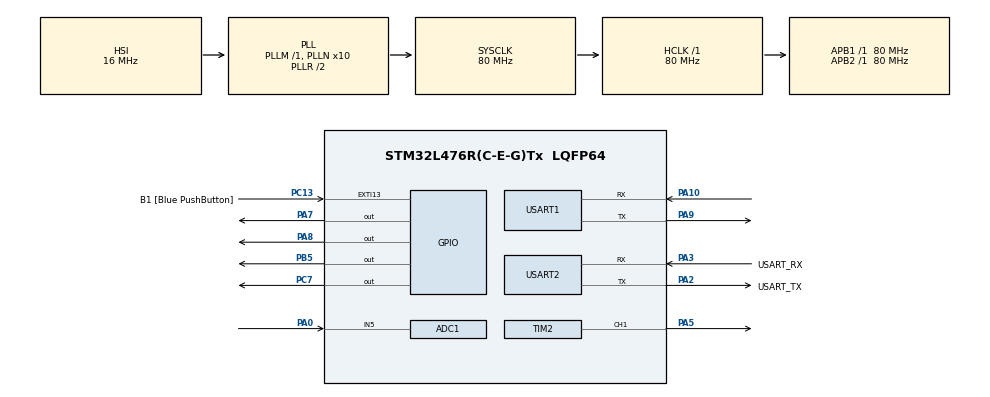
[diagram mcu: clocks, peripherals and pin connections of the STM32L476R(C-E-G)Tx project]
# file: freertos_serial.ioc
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ADC1.Channel-0\#ChannelRegularConversion=ADC_CHANNEL_5
ADC1.NbrOfConversionFlag=1
ADC1.OffsetNumber-0\#ChannelRegularConversion=ADC_OFFSET_NONE
ADC1.Rank-0\#ChannelRegularConversion=1
ADC1.SamplingTime-0\#ChannelRegularConversion=ADC_SAMPLETIME_2CYCLES_5
ADC1.master=1
FREERTOS.Tasks01=defaultTask,0,128,StartDefaultTask,Default,NULL,Dynamic,NULL,NULL
Mcu.Family=STM32L4
Mcu.Name=STM32L476R(C-E-G)Tx
Mcu.Package=LQFP64
NVIC.PriorityGroup=NVIC_PRIORITYGROUP_4
NVIC.TIM1_UP_TIM16_IRQn=true\:15\:0\:false\:false\:true\:false\:false\:true\:true
NVIC.TIM3_IRQn=true\:5\:0\:false\:false\:true\:true\:true\:true\:true
NVIC.TimeBase=TIM1_UP_TIM16_IRQn
NVIC.TimeBaseIP=TIM1
PA0.Signal=ADCx_IN5
PA10.Mode=Asynchronous
PA10.Signal=USART1_RX
PA13\ (JTMS-SWDIO).GPIO_Label=TMS
PA13\ (JTMS-SWDIO).Mode=Serial_Wire
PA13\ (JTMS-SWDIO).Signal=SYS_JTMS-SWDIO
PA14\ (JTCK-SWCLK).GPIO_Label=TCK
PA14\ (JTCK-SWCLK).Mode=Serial_Wire
PA14\ (JTCK-SWCLK).Signal=SYS_JTCK-SWCLK
PA2.GPIO_Label=USART_TX
PA2.GPIO_Mode=GPIO_MODE_AF_PP
PA2.GPIO_PuPd=GPIO_NOPULL
PA2.GPIO_Speed=GPIO_SPEED_FREQ_VERY_HIGH
PA2.Mode=Asynchronous
PA2.Signal=USART2_TX
PA3.GPIO_Label=USART_RX
PA3.GPIO_Mode=GPIO_MODE_AF_PP
PA3.GPIO_PuPd=GPIO_NOPULL
PA3.GPIO_Speed=GPIO_SPEED_FREQ_VERY_HIGH
PA3.Mode=Asynchronous
PA3.Signal=USART2_RX
PA5.Signal=S_TIM2_CH1
PA7.Signal=GPIO_Output
PA8.Signal=GPIO_Output
PA9.Mode=Asynchronous
PA9.Signal=USART1_TX
PB3\ (JTDO-TRACESWO).GPIO_Label=SWO
PB3\ (JTDO-TRACESWO).Signal=SYS_JTDO-SWO
PB5.Signal=GPIO_Output
PC13.GPIO_Label=B1 [Blue PushButton]
PC13.GPIO_ModeDefaultEXTI=GPIO_MODE_IT_FALLING
PC13.GPIO_PuPd=GPIO_NOPULL
PC13.Signal=GPXTI13
PC14-OSC32_IN\ (PC14).Mode=LSE-External-Oscillator
PC14-OSC32_IN\ (PC14).Signal=RCC_OSC32_IN
PC15-OSC32_OUT\ (PC15).Mode=LSE-External-Oscillator
PC15-OSC32_OUT\ (PC15).Signal=RCC_OSC32_OUT
PC7.Signal=GPIO_Output
PH0-OSC_IN\ (PH0).Signal=RCC_OSC_IN
PH1-OSC_OUT\ (PH1).Signal=RCC_OSC_OUT
ProjectManager.HeapSize=0x200
ProjectManager.StackSize=0x400
ProjectManager.TargetToolchain=STM32CubeIDE
RCC.ADCFreq_Value=64000000
RCC.AHBFreq_Value=80000000
RCC.APB1Freq_Value=80000000
RCC.APB1TimFreq_Value=80000000
RCC.APB2Freq_Value=80000000
RCC.APB2TimFreq_Value=80000000
RCC.CortexFreq_Value=80000000
RCC.HCLKFreq_Value=80000000
RCC.HSE_VALUE=8000000
RCC.HSI_VALUE=16000000
RCC.MSI_VALUE=4000000
RCC.PLLN=10
RCC.PLLSourceVirtual=RCC_PLLSOURCE_HSI
RCC.PREFETCH_ENABLE=1
RCC.SYSCLKFreq_VALUE=80000000
RCC.SYSCLKSource=RCC_SYSCLKSOURCE_PLLCLK
RCC.USBFreq_Value=64000000
RCC.VCOOutputFreq_Value=160000000
SH.ADCx_IN5.0=ADC1_IN5,IN5-Single-Ended
SH.S_TIM2_CH1.0=TIM2_CH1,PWM Generation1 CH1
TIM2.Channel-PWM\ Generation1\ CH1=TIM_CHANNEL_1
TIM2.Period=2000-1
TIM2.Prescaler=127
TIM3.Period=10000-1
TIM3.Prescaler=400-1
USART1.VirtualMode-Asynchronous=VM_ASYNC
USART2.VirtualMode-Asynchronous=VM_ASYNC
VP_FREERTOS_VS_CMSIS_V1.Mode=CMSIS_V1
VP_SYS_VS_tim1.Mode=TIM1
VP_TIM2_VS_ClockSourceINT.Mode=Internal
VP_TIM3_VS_ClockSourceINT.Mode=Internal
board=NUCLEO-L476RG

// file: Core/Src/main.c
/* USER CODE BEGIN Header */
/**
  ******************************************************************************
  * @file           : main.c
  * @brief          : Main program body
  ******************************************************************************
  * @attention
  *
  * Copyright (c) 2023 STMicroelectronics.
  * All rights reserved.
  *
  * This software is licensed under terms that can be found in the LICENSE file
  * in the root directory of this software component.
  * If no LICENSE file comes with this software, it is provided AS-IS.
  *
  ******************************************************************************
  */
/* USER CODE END Header */
#include "main.h"
#include "cmsis_os.h"

ADC_HandleTypeDef hadc1;

TIM_HandleTypeDef htim2;
TIM_HandleTypeDef htim3;

UART_HandleTypeDef huart1;
UART_HandleTypeDef huart2;

osThreadId defaultTaskHandle;

void SystemClock_Config(void);
static void MX_GPIO_Init(void);
static void MX_USART2_UART_Init(void);
static void MX_ADC1_Init(void);
static void MX_TIM3_Init(void);
static void MX_TIM2_Init(void);
static void MX_USART1_UART_Init(void);
void StartDefaultTask(void const * argument);

/* USER CODE BEGIN 0 */
//
//void pwm_task(void * vParam)
//{
//	int pwm_value = 1000;
//	int step = 100;
//	while(1)
//		{
//			vTaskDelay(100);
//			if(pwm_value == 0) step = 100;
//			if(pwm_value == 2000) step = -100;
//			pwm_value += step;
//			user_pwm_setvalue(2000);
//		}
//}

//void sendString(char * str);
void cli(void * vParam);
void toggleTaskFcn(void * argument);

//int16_t readVoltage(void){
//  HAL_ADC_Start(&hadc1);
//  HAL_ADC_PollForConversion(&hadc1, HAL_MAX_DELAY);
//  return HAL_ADC_GetValue(&hadc1);
//}

//void sendChar(unsigned char c, int uart_number){
//	unsigned char pChar = c;
//	if(uart_number == 1){
//		HAL_UART_Transmit(&huart1, &pChar, 1, HAL_MAX_DELAY );
//	}
//	else if(uart_number == 2){
//		HAL_UART_Transmit(&huart2, &pChar, 1,HAL_MAX_DELAY );
//	}
//}
//
//char readChar(int uart_number) {
//	unsigned char caracter;
//
//	if(uart_number == 1){
//		while(HAL_UART_Receive(&huart1, &caracter, 4, HAL_MAX_DELAY) != HAL_OK);
//	}
//	else if(uart_number == 2){
//		while(HAL_UART_Receive(&huart2, &caracter, 1, HAL_MAX_DELAY) != HAL_OK);
//	}
//	return caracter;
//}
//
//void recebe_da_node_mcu(void *vParam){
//	unsigned char caracter;
//	while(1){
//		//Aguarda receber um caracter da UART1 que esta conectada ao Node MCU
//		caracter = readChar(1);
//		//Envia o caracter recebido para a UART 2 que está conectada ao terminal serial
//		sendChar(caracter, 2);
//		if (caracter == '3') {
//			HAL_GPIO_WritePin(GPIOC, GPIO_PIN_7, 1);
//			HAL_GPIO_WritePin(GPIOA, GPIO_PIN_8, 1);
//		} else {
//			HAL_GPIO_WritePin(GPIOC, GPIO_PIN_7, 0);
//			HAL_GPIO_WritePin(GPIOA, GPIO_PIN_8, 1);
//		}
//		vTaskDelay(1);
//	}
//}
//
//void envia_para_node_mcu( void *vParam){
//	unsigned char caracter;
//
//	while(1){
//		//Aguarda receber um carcater do terminal serial
////		caracter = readChar(2);
//		caracter = 200;
//		//Envia o caracter para a UART 1 que está conectada a placa NodemCU
//		sendChar(caracter, 1);
////		vTaskDelay(1);
//	}
//}

/* USER CODE END 0 */

int main(void)
{
  /* USER CODE BEGIN 1 */
  char flag = 0;

  /* USER CODE END 1 */

  /* MCU Configuration--------------------------------------------------------*/

  /* Reset of all peripherals, Initializes the Flash interface and the Systick. */
  HAL_Init();

  /* Configure the system clock */
  SystemClock_Config();

  /* Initialize all configured peripherals */
  MX_GPIO_Init();
  MX_USART2_UART_Init();
  MX_ADC1_Init();
  MX_TIM3_Init();
  MX_TIM2_Init();
  MX_USART1_UART_Init();
  /* USER CODE BEGIN 2 */
  HAL_TIM_PWM_Start(&htim2, TIM_CHANNEL_1);

  /* USER CODE END 2 */

  /* Create the thread(s) */
  /* definition and creation of defaultTask */
  osThreadDef(defaultTask, StartDefaultTask, osPriorityNormal, 0, 128);
  defaultTaskHandle = osThreadCreate(osThread(defaultTask), NULL);

  /* USER CODE BEGIN RTOS_THREADS */
  /* add threads, ... */
//  xTaskCreate(pwm_task, /* Nome da funcao que contem a task */
//  "pwm_task", /* Nome descritivo */
//  configMINIMAL_STACK_SIZE, /* tamanho da pilha da task */
//  NULL, /* parametro para a task */
//  1, /* nivel de prioridade */
//  NULL); /* ponteiro para o handle da task */

  xTaskCreate(
  		  cli,
  		  "serialRcvr",
  		  configMINIMAL_STACK_SIZE,
  		  &flag,
		  tskIDLE_PRIORITY,
  		  NULL);

  xTaskCreate(
		  toggleTaskFcn,
  		  "toggleLed",
  		  configMINIMAL_STACK_SIZE,
  		  &flag,
		  tskIDLE_PRIORITY,
  		  NULL);

//  xTaskCreate(
//		 recebe_da_node_mcu,
//		 "recebe_da_node_mcu",
//		 configMINIMAL_STACK_SIZE,
//		 NULL,
//		 1,
//		 NULL);
//  xTaskCreate(
//		 envia_para_node_mcu,
//		 "envia_para_node_mcu",
//		 configMINIMAL_STACK_SIZE,
//		 NULL,
//		 1,
//		 NULL);

  flag = 0;
  /* USER CODE END RTOS_THREADS */

  /* Start scheduler */
  osKernelStart();

  /* We should never get here as control is now taken by the scheduler */
  /* Infinite loop */
  while (1)
  {

  }
}

void SystemClock_Config(void)
{
  RCC_OscInitTypeDef RCC_OscInitStruct = {0};
  RCC_ClkInitTypeDef RCC_ClkInitStruct = {0};

  /** Configure the main internal regulator output voltage
  */
  if (HAL_PWREx_ControlVoltageScaling(PWR_REGULATOR_VOLTAGE_SCALE1) != HAL_OK)
  {
    Error_Handler();
  }

  /** Initializes the RCC Oscillators according to the specified parameters
  * in the RCC_OscInitTypeDef structure.
  */
  RCC_OscInitStruct.OscillatorType = RCC_OSCILLATORTYPE_HSI;
  RCC_OscInitStruct.HSIState = RCC_HSI_ON;
  RCC_OscInitStruct.HSICalibrationValue = RCC_HSICALIBRATION_DEFAULT;
  RCC_OscInitStruct.PLL.PLLState = RCC_PLL_ON;
  RCC_OscInitStruct.PLL.PLLSource = RCC_PLLSOURCE_HSI;
  RCC_OscInitStruct.PLL.PLLM = 1;
  RCC_OscInitStruct.PLL.PLLN = 10;
  RCC_OscInitStruct.PLL.PLLP = RCC_PLLP_DIV7;
  RCC_OscInitStruct.PLL.PLLQ = RCC_PLLQ_DIV2;
  RCC_OscInitStruct.PLL.PLLR = RCC_PLLR_DIV2;
  if (HAL_RCC_OscConfig(&RCC_OscInitStruct) != HAL_OK)
  {
    Error_Handler();
  }

  /** Initializes the CPU, AHB and APB buses clocks
  */
  RCC_ClkInitStruct.ClockType = RCC_CLOCKTYPE_HCLK|RCC_CLOCKTYPE_SYSCLK
                              |RCC_CLOCKTYPE_PCLK1|RCC_CLOCKTYPE_PCLK2;
  RCC_ClkInitStruct.SYSCLKSource = RCC_SYSCLKSOURCE_PLLCLK;
  RCC_ClkInitStruct.AHBCLKDivider = RCC_SYSCLK_DIV1;
  RCC_ClkInitStruct.APB1CLKDivider = RCC_HCLK_DIV1;
  RCC_ClkInitStruct.APB2CLKDivider = RCC_HCLK_DIV1;

  if (HAL_RCC_ClockConfig(&RCC_ClkInitStruct, FLASH_LATENCY_4) != HAL_OK)
  {
    Error_Handler();
  }
}

static void MX_ADC1_Init(void)
{

  ADC_MultiModeTypeDef multimode = {0};
  ADC_ChannelConfTypeDef sConfig = {0};

  /** Common config
  */
  hadc1.Instance = ADC1;
  hadc1.Init.ClockPrescaler = ADC_CLOCK_ASYNC_DIV1;
  hadc1.Init.Resolution = ADC_RESOLUTION_12B;
  hadc1.Init.DataAlign = ADC_DATAALIGN_RIGHT;
  hadc1.Init.ScanConvMode = ADC_SCAN_DISABLE;
  hadc1.Init.EOCSelection = ADC_EOC_SINGLE_CONV;
  hadc1.Init.LowPowerAutoWait = DISABLE;
  hadc1.Init.ContinuousConvMode = DISABLE;
  hadc1.Init.NbrOfConversion = 1;
  hadc1.Init.DiscontinuousConvMode = DISABLE;
  hadc1.Init.ExternalTrigConv = ADC_SOFTWARE_START;
  hadc1.Init.ExternalTrigConvEdge = ADC_EXTERNALTRIGCONVEDGE_NONE;
  hadc1.Init.DMAContinuousRequests = DISABLE;
  hadc1.Init.Overrun = ADC_OVR_DATA_PRESERVED;
  hadc1.Init.OversamplingMode = DISABLE;
  if (HAL_ADC_Init(&hadc1) != HAL_OK)
  {
    Error_Handler();
  }

  /** Configure the ADC multi-mode
  */
  multimode.Mode = ADC_MODE_INDEPENDENT;
  if (HAL_ADCEx_MultiModeConfigChannel(&hadc1, &multimode) != HAL_OK)
  {
    Error_Handler();
  }

  /** Configure Regular Channel
  */
  sConfig.Channel = ADC_CHANNEL_5;
  sConfig.Rank = ADC_REGULAR_RANK_1;
  sConfig.SamplingTime = ADC_SAMPLETIME_2CYCLES_5;
  sConfig.SingleDiff = ADC_SINGLE_ENDED;
  sConfig.OffsetNumber = ADC_OFFSET_NONE;
  sConfig.Offset = 0;
  if (HAL_ADC_ConfigChannel(&hadc1, &sConfig) != HAL_OK)
  {
    Error_Handler();
  }

}

static void MX_TIM2_Init(void)
{

  TIM_ClockConfigTypeDef sClockSourceConfig = {0};
  TIM_MasterConfigTypeDef sMasterConfig = {0};
  TIM_OC_InitTypeDef sConfigOC = {0};

  htim2.Instance = TIM2;
  htim2.Init.Prescaler = 127;
  htim2.Init.CounterMode = TIM_COUNTERMODE_UP;
  htim2.Init.Period = 2000-1;
  htim2.Init.ClockDivision = TIM_CLOCKDIVISION_DIV1;
  htim2.Init.AutoReloadPreload = TIM_AUTORELOAD_PRELOAD_DISABLE;
  if (HAL_TIM_Base_Init(&htim2) != HAL_OK)
  {
    Error_Handler();
  }
  sClockSourceConfig.ClockSource = TIM_CLOCKSOURCE_INTERNAL;
  if (HAL_TIM_ConfigClockSource(&htim2, &sClockSourceConfig) != HAL_OK)
  {
    Error_Handler();
  }
  if (HAL_TIM_PWM_Init(&htim2) != HAL_OK)
  {
    Error_Handler();
  }
  sMasterConfig.MasterOutputTrigger = TIM_TRGO_RESET;
  sMasterConfig.MasterSlaveMode = TIM_MASTERSLAVEMODE_DISABLE;
  if (HAL_TIMEx_MasterConfigSynchronization(&htim2, &sMasterConfig) != HAL_OK)
  {
    Error_Handler();
  }
  sConfigOC.OCMode = TIM_OCMODE_PWM1;
  sConfigOC.Pulse = 0;
  sConfigOC.OCPolarity = TIM_OCPOLARITY_HIGH;
  sConfigOC.OCFastMode = TIM_OCFAST_DISABLE;
  if (HAL_TIM_PWM_ConfigChannel(&htim2, &sConfigOC, TIM_CHANNEL_1) != HAL_OK)
  {
    Error_Handler();
  }
  HAL_TIM_MspPostInit(&htim2);

}

static void MX_TIM3_Init(void)
{

  TIM_ClockConfigTypeDef sClockSourceConfig = {0};
  TIM_MasterConfigTypeDef sMasterConfig = {0};

  htim3.Instance = TIM3;
  htim3.Init.Prescaler = 400-1;
  htim3.Init.CounterMode = TIM_COUNTERMODE_UP;
  htim3.Init.Period = 10000-1;
  htim3.Init.ClockDivision = TIM_CLOCKDIVISION_DIV1;
  htim3.Init.AutoReloadPreload = TIM_AUTORELOAD_PRELOAD_DISABLE;
  if (HAL_TIM_Base_Init(&htim3) != HAL_OK)
  {
    Error_Handler();
  }
  sClockSourceConfig.ClockSource = TIM_CLOCKSOURCE_INTERNAL;
  if (HAL_TIM_ConfigClockSource(&htim3, &sClockSourceConfig) != HAL_OK)
  {
    Error_Handler();
  }
  sMasterConfig.MasterOutputTrigger = TIM_TRGO_RESET;
  sMasterConfig.MasterSlaveMode = TIM_MASTERSLAVEMODE_DISABLE;
  if (HAL_TIMEx_MasterConfigSynchronization(&htim3, &sMasterConfig) != HAL_OK)
  {
    Error_Handler();
  }

}

static void MX_USART1_UART_Init(void)
{

  huart1.Instance = USART1;
  huart1.Init.BaudRate = 115200;
  huart1.Init.WordLength = UART_WORDLENGTH_8B;
  huart1.Init.StopBits = UART_STOPBITS_1;
  huart1.Init.Parity = UART_PARITY_NONE;
  huart1.Init.Mode = UART_MODE_TX_RX;
  huart1.Init.HwFlowCtl = UART_HWCONTROL_NONE;
  huart1.Init.OverSampling = UART_OVERSAMPLING_16;
  huart1.Init.OneBitSampling = UART_ONE_BIT_SAMPLE_DISABLE;
  huart1.AdvancedInit.AdvFeatureInit = UART_ADVFEATURE_NO_INIT;
  if (HAL_UART_Init(&huart1) != HAL_OK)
  {
    Error_Handler();
  }

}

static void MX_USART2_UART_Init(void)
{

  huart2.Instance = USART2;
  huart2.Init.BaudRate = 115200;
  huart2.Init.WordLength = UART_WORDLENGTH_8B;
  huart2.Init.StopBits = UART_STOPBITS_1;
  huart2.Init.Parity = UART_PARITY_NONE;
  huart2.Init.Mode = UART_MODE_TX_RX;
  huart2.Init.HwFlowCtl = UART_HWCONTROL_NONE;
  huart2.Init.OverSampling = UART_OVERSAMPLING_16;
  huart2.Init.OneBitSampling = UART_ONE_BIT_SAMPLE_DISABLE;
  huart2.AdvancedInit.AdvFeatureInit = UART_ADVFEATURE_NO_INIT;
  if (HAL_UART_Init(&huart2) != HAL_OK)
  {
    Error_Handler();
  }

}

static void MX_GPIO_Init(void)
{
  GPIO_InitTypeDef GPIO_InitStruct = {0};

  /* GPIO Ports Clock Enable */
  __HAL_RCC_GPIOC_CLK_ENABLE();
  __HAL_RCC_GPIOH_CLK_ENABLE();
  __HAL_RCC_GPIOA_CLK_ENABLE();
  __HAL_RCC_GPIOB_CLK_ENABLE();

  /*Configure GPIO pin Output Level */
  HAL_GPIO_WritePin(GPIOA, GPIO_PIN_7|GPIO_PIN_8, GPIO_PIN_RESET);

  /*Configure GPIO pin Output Level */
  HAL_GPIO_WritePin(GPIOC, GPIO_PIN_7, GPIO_PIN_RESET);

  /*Configure GPIO pin Output Level */
  HAL_GPIO_WritePin(GPIOB, GPIO_PIN_5, GPIO_PIN_RESET);

  /*Configure GPIO pin : B1_Pin */
  GPIO_InitStruct.Pin = B1_Pin;
  GPIO_InitStruct.Mode = GPIO_MODE_IT_FALLING;
  GPIO_InitStruct.Pull = GPIO_NOPULL;
  HAL_GPIO_Init(B1_GPIO_Port, &GPIO_InitStruct);

  /*Configure GPIO pins : PA7 PA8 */
  GPIO_InitStruct.Pin = GPIO_PIN_7|GPIO_PIN_8;
  GPIO_InitStruct.Mode = GPIO_MODE_OUTPUT_PP;
  GPIO_InitStruct.Pull = GPIO_NOPULL;
  GPIO_InitStruct.Speed = GPIO_SPEED_FREQ_LOW;
  HAL_GPIO_Init(GPIOA, &GPIO_InitStruct);

  /*Configure GPIO pin : PC7 */
  GPIO_InitStruct.Pin = GPIO_PIN_7;
  GPIO_InitStruct.Mode = GPIO_MODE_OUTPUT_PP;
  GPIO_InitStruct.Pull = GPIO_NOPULL;
  GPIO_InitStruct.Speed = GPIO_SPEED_FREQ_LOW;
  HAL_GPIO_Init(GPIOC, &GPIO_InitStruct);

  /*Configure GPIO pin : PB5 */
  GPIO_InitStruct.Pin = GPIO_PIN_5;
  GPIO_InitStruct.Mode = GPIO_MODE_OUTPUT_PP;
  GPIO_InitStruct.Pull = GPIO_NOPULL;
  GPIO_InitStruct.Speed = GPIO_SPEED_FREQ_LOW;
  HAL_GPIO_Init(GPIOB, &GPIO_InitStruct);

}

/* USER CODE BEGIN 4 */

void user_pwm_setvalue(uint16_t value)
{

	HAL_TIM_PWM_Stop(&htim2, TIM_CHANNEL_1);
	TIM_OC_InitTypeDef sConfigOC;

	sConfigOC.OCMode = TIM_OCMODE_PWM1;
	sConfigOC.Pulse = value;
	sConfigOC.OCPolarity = TIM_OCPOLARITY_HIGH;
	sConfigOC.OCFastMode = TIM_OCFAST_DISABLE;
	HAL_TIM_PWM_ConfigChannel(&htim2, &sConfigOC, TIM_CHANNEL_1);
	HAL_TIM_PWM_Start(&htim2, TIM_CHANNEL_1);
}

int16_t readVoltage(void){
  HAL_ADC_Start(&hadc1);
  HAL_ADC_PollForConversion(&hadc1, HAL_MAX_DELAY);
  return HAL_ADC_GetValue(&hadc1);
}

void sendChar(unsigned char c, int uart_number){
	unsigned char pChar = c;
	if(uart_number == 1){
		HAL_UART_Transmit(&huart1, &pChar, 1, HAL_MAX_DELAY );
	}
	else if(uart_number == 2){
		HAL_UART_Transmit(&huart2, &pChar, 1,HAL_MAX_DELAY );
	}
}

void envia_para_node_mcu(int param){
	unsigned char caracter;

//	while(1){
		//Aguarda receber um carcater do terminal serial
//		caracter = readChar(2);
		caracter = param;
		//Envia o caracter para a UART 1 que está conectada a placa NodemCU
		sendChar(caracter, 1);
//		vTaskDelay(1);
//	}
}

char* int_to_string(int num) {

    static char str[50];

	float ten = (float)num * 0.0008;

    gcvt(ten, 3, str);
    sprintf(str+3, " V //  %d\n\r", num);

    return str;
}

void sendString(char * str) {

	HAL_UART_Transmit(&huart2, (uint8_t *)str, strlen(str), HAL_MAX_DELAY );
}

void cli(void * vParam) {

	uint8_t caracter;
	char *flag = (char*) vParam;

	while(1) {
		while(HAL_UART_Receive(&huart2, &caracter, 1, HAL_MAX_DELAY) != HAL_OK);
		*flag = caracter;
	}
}

void loudMode(){
	sendString("Red light on.\r\n");
	HAL_GPIO_WritePin(GPIOC, GPIO_PIN_7, 1);

	sendString("Green light off.\r\n");
	HAL_GPIO_WritePin(GPIOA, GPIO_PIN_7, 0);

	sendString("Yellow light off.\r\n");
	HAL_GPIO_WritePin(GPIOB, GPIO_PIN_5, 0);

	sendString("Buzzer on.\r\n");
	HAL_GPIO_WritePin(GPIOA, GPIO_PIN_8, 1);
}

void warningMode(){
	sendString("Green light off.\r\n");
	HAL_GPIO_WritePin(GPIOA, GPIO_PIN_7, 0);

	sendString("Red light off.\r\n");
	HAL_GPIO_WritePin(GPIOC, GPIO_PIN_7, 0);

	sendString("Yellow light on.\r\n");
	HAL_GPIO_WritePin(GPIOB, GPIO_PIN_5, 1);

	sendString("Buzzer off.\r\n");
	HAL_GPIO_WritePin(GPIOA, GPIO_PIN_8, 0);
}

void quietMode(){
	sendString("Green light on.\r\n");
	HAL_GPIO_WritePin(GPIOA, GPIO_PIN_7, 1);

	sendString("Red light off.\r\n");
	HAL_GPIO_WritePin(GPIOC, GPIO_PIN_7, 0);

	sendString("Yellow light off.\r\n");
	HAL_GPIO_WritePin(GPIOB, GPIO_PIN_5, 0);

	sendString("Buzzer off.\r\n");
	HAL_GPIO_WritePin(GPIOA, GPIO_PIN_8, 0);

}

void debugSwitch(char *caracter, char *message, int port, int pin) {
	sendString(message);
	HAL_GPIO_TogglePin(port, pin);
	*caracter = 'd';
}

void toggleTaskFcn(void * argument) {

  char * caracter = (char * ) argument;

  * caracter = 'o';
  int mode = 4;

  for (;;) {

	   if ( * caracter == 'p') {
	      sendString("Product mode selected.\r\n");

	      while (1) {
	    	int rv = readVoltage();

	        if ( * caracter == 'd') {
	          break;
	        } else if (rv >= 3000) {
	          loudMode();
	          mode = 3;

	        } else if (rv < 1500) {
            quietMode();
	          mode = 1;

	        } else {
	          warningMode();
	          mode = 2;

	        }

			int mcurv = rv / 16;

			if (mcurv < 8) {
				mcurv = 9;
			}

			envia_para_node_mcu(mcurv);

			char * str = int_to_string(rv);
			sendString(str);

			user_pwm_setvalue(rv / 2);

			vTaskDelay(3500);

			sendChar(mode, 1);

			vTaskDelay(3500);
      }

    } else if ( * caracter == 'd') {
      sendString("Debug mode selected.\r\n");
      sendChar(15, 1);

      while (1) {
        if ( * caracter == 'r') {
		  debugSwitch(caracter, "Red light switched.\r\n", GPIOC, GPIO_PIN_7);
	      sendChar(6, 1);

        } else if ( * caracter == 'g') {
  		  debugSwitch(caracter, "Green light switched.\r\n", GPIOA, GPIO_PIN_7);
  	      sendChar(4, 1);

        } else if ( * caracter == 'y') {
  		  debugSwitch(caracter, "Yellow light switched.\r\n", GPIOB, GPIO_PIN_5);
  	      sendChar(5, 1);

        } else if ( * caracter == 'b') {
  		  debugSwitch(caracter, "Buzzer switched.\r\n", GPIOA, GPIO_PIN_8);
  	      sendChar(7, 1);

        } else if ( * caracter == 'i') {
          int rv = readVoltage();
          char * str = int_to_string(rv);
		  sendChar((rv/16), 1);
		  sendString(str);
          * caracter = 'd';

        } else if ( * caracter == 'p') {
          vTaskDelay(3500);
          break;
        }
      }
    }
  }
}

/* USER CODE END 4 */

void StartDefaultTask(void const * argument)
{
  for(;;)
  {
    osDelay(1);
  }
}

void HAL_TIM_PeriodElapsedCallback(TIM_HandleTypeDef *htim)
{
  if (htim->Instance == TIM1) {
    HAL_IncTick();
  }
}

void Error_Handler(void)
{
  __disable_irq();
  while (1)
  {
  }
}
